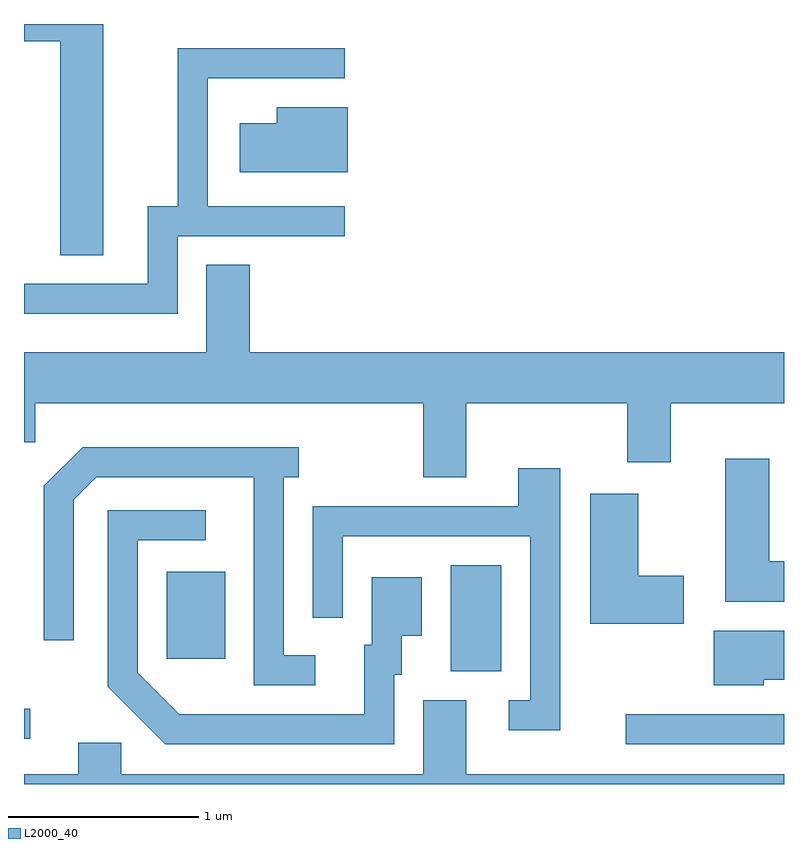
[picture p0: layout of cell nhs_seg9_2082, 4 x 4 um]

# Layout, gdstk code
import gdstk
lib = gdstk.Library(unit=1e-6, precision=1e-09)
def R(c, l, rs):  # rectangles x0, y0, x1, y1
    for r in rs: c.add(gdstk.rectangle(r[:2], r[2:], *l))
def P(c, l, *ps):  # polygons
    for p in ps: c.add(gdstk.Polygon(p, *l))
L2000_40 = (2000, 40)

nhs_seg9_2082 = lib.new_cell('nhs_seg9_2082')
R(nhs_seg9_2082, L2000_40, [(248.778,2036.641,249.611,2036.799), (245.611,2036.671,245.643,2036.829), (247.856,2037.026,248.124,2037.584), (246.361,2037.091,246.669,2037.549)])
P(nhs_seg9_2082, L2000_40, [(246.029,2040.432),(245.611,2040.432),(245.611,2040.341),(245.801,2040.341),(245.801,2039.216),(246.029,2039.216)],
  [(246.419,2039.316),(247.298,2039.316),(247.298,2039.474),(246.579,2039.474),(246.579,2040.146),(247.298,2040.146),(247.298,2040.304),(246.421,2040.304),(246.421,2039.474),(246.261,2039.474),(246.261,2039.064),(245.611,2039.064),(245.611,2038.906),(246.419,2038.906)],
  [(247.314,2039.994),(246.941,2039.994),(246.941,2039.909),(246.746,2039.909),(246.746,2039.651),(247.314,2039.651)],
  [(247.939,2038.436),(248.786,2038.436),(248.786,2038.126),(249.014,2038.126),(249.014,2038.436),(249.611,2038.436),(249.611,2038.704),(246.799,2038.704),(246.799,2039.164),(246.571,2039.164),(246.571,2038.704),(245.611,2038.704),(245.611,2038.231),(245.669,2038.231),(245.669,2038.436),(247.711,2038.436),(247.711,2038.046),(247.939,2038.046)],
  [(247.143,2037.109),(246.979,2037.109),(246.979,2038.046),(247.058,2038.046),(247.058,2038.204),(245.919,2038.204),(245.716,2038.002),(245.716,2037.188),(245.874,2037.188),(245.874,2037.929),(245.992,2038.046),(246.821,2038.046),(246.821,2036.951),(247.143,2036.951)],
  [(249.611,2037.604),(249.534,2037.604),(249.534,2038.144),(249.301,2038.144),(249.301,2037.391),(249.611,2037.391)],
  [(248.434,2038.094),(248.211,2038.094),(248.211,2037.894),(247.131,2037.894),(247.131,2037.308),(247.289,2037.308),(247.289,2037.736),(248.276,2037.736),(248.276,2036.874),(248.163,2036.874),(248.163,2036.716),(248.434,2036.716)],
  [(249.084,2037.529),(248.844,2037.529),(248.844,2037.959),(248.591,2037.959),(248.591,2037.276),(249.084,2037.276)],
  [(247.559,2037.006),(247.599,2037.006),(247.599,2037.211),(247.704,2037.211),(247.704,2037.519),(247.441,2037.519),(247.441,2037.164),(247.401,2037.164),(247.401,2036.799),(246.427,2036.799),(246.209,2037.017),(246.209,2037.716),(246.568,2037.716),(246.568,2037.874),(246.051,2037.874),(246.051,2036.944),(246.354,2036.641),(247.559,2036.641)],
  [(249.504,2036.981),(249.611,2036.981),(249.611,2037.239),(249.241,2037.239),(249.241,2036.951),(249.504,2036.951)],
  [(249.611,2036.484),(247.939,2036.484),(247.939,2036.874),(247.711,2036.874),(247.711,2036.484),(246.124,2036.484),(246.124,2036.649),(245.896,2036.649),(245.896,2036.484),(245.611,2036.484),(245.611,2036.432),(249.611,2036.432)])

lib.write_gds('nhs_seg9_2082.gds')
